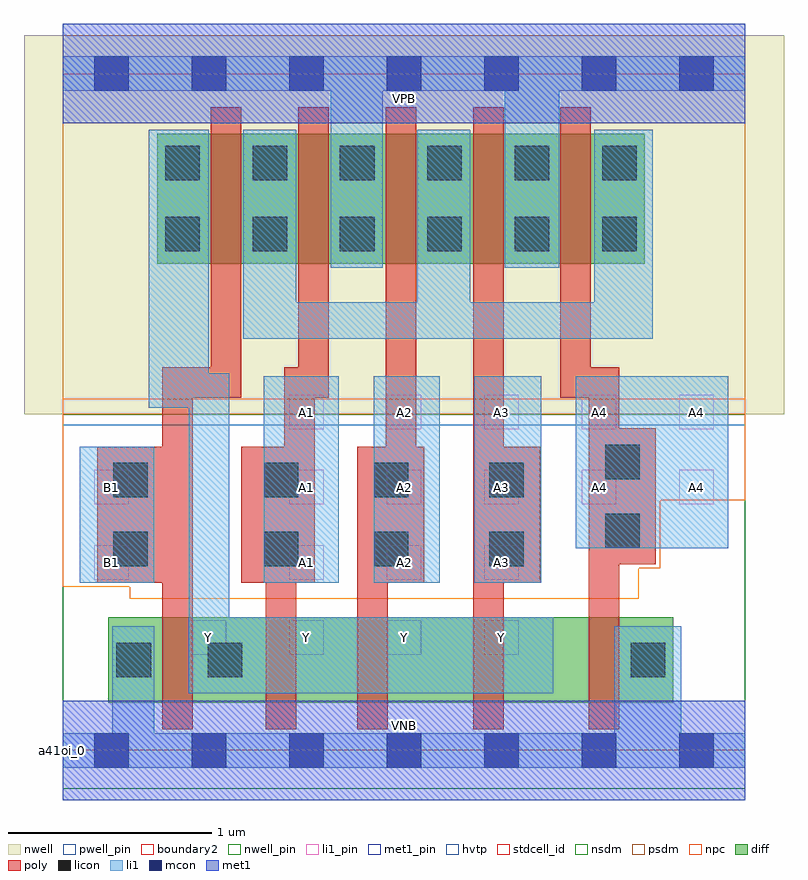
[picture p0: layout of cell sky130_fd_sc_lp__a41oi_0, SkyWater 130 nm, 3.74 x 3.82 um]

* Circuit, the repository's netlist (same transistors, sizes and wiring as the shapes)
* Copyright 2020 The SkyWater PDK Authors
*
* Licensed under the Apache License, Version 2.0 (the "License");
* you may not use this file except in compliance with the License.
* You may obtain a copy of the License at
*
*     https://www.apache.org/licenses/LICENSE-2.0
*
* Unless required by applicable law or agreed to in writing, software
* distributed under the License is distributed on an "AS IS" BASIS,
* WITHOUT WARRANTIES OR CONDITIONS OF ANY KIND, either express or implied.
* See the License for the specific language governing permissions and
* limitations under the License.
*
* SPDX-License-Identifier: Apache-2.0

.SUBCKT sky130_fd_sc_lp__a41oi_0 A1 A2 A3 A4 B1 VGND VNB VPB VPWR Y
*.PININFO A1:I A2:I A3:I A4:I B1:I VGND:I VNB:I VPB:I VPWR:I Y:O
MMPA0 pndA A1 VPWR VPB sky130_fd_pr__pfet_01v8_hvt m=1 w=0.64U l=0.15U mult=1 sa=0.265
+ sb=0.265 sd=0.28 area=0.063 perim=1.14
MMPA1 pndA A2 VPWR VPB sky130_fd_pr__pfet_01v8_hvt m=1 w=0.64U l=0.15U mult=1 sa=0.265
+ sb=0.265 sd=0.28 area=0.063 perim=1.14
MMPA2 pndA A3 VPWR VPB sky130_fd_pr__pfet_01v8_hvt m=1 w=0.64U l=0.15U mult=1 sa=0.265
+ sb=0.265 sd=0.28 area=0.063 perim=1.14
MMPA3 pndA A4 VPWR VPB sky130_fd_pr__pfet_01v8_hvt m=1 w=0.64U l=0.15U mult=1 sa=0.265
+ sb=0.265 sd=0.28 area=0.063 perim=1.14
MMPB0 Y B1 pndA VPB sky130_fd_pr__pfet_01v8_hvt m=1 w=0.64U l=0.15U mult=1 sa=0.265
+ sb=0.265 sd=0.28 area=0.063 perim=1.14
MMNA0 Y A1 sndA1 VNB sky130_fd_pr__nfet_01v8 m=1 w=0.42U l=0.15U mult=1 sa=0.265
+ sb=0.265 sd=0.28 area=0.063 perim=1.14
MMNA1 sndA1 A2 sndA2 VNB sky130_fd_pr__nfet_01v8 m=1 w=0.42U l=0.15U mult=1 sa=0.265
+ sb=0.265 sd=0.28 area=0.063 perim=1.14
MMNA2 sndA2 A3 sndA3 VNB sky130_fd_pr__nfet_01v8 m=1 w=0.42U l=0.15U mult=1 sa=0.265
+ sb=0.265 sd=0.28 area=0.063 perim=1.14
MMNA3 sndA3 A4 VGND VNB sky130_fd_pr__nfet_01v8 m=1 w=0.42U l=0.15U mult=1 sa=0.265
+ sb=0.265 sd=0.28 area=0.063 perim=1.14
MMNB0 Y B1 VGND VNB sky130_fd_pr__nfet_01v8 m=1 w=0.42U l=0.15U mult=1 sa=0.265
+ sb=0.265 sd=0.28 area=0.063 perim=1.14
.ENDS sky130_fd_sc_lp__a41oi_0

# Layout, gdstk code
import gdstk
lib = gdstk.Library(unit=1e-6, precision=1e-09)
def R(c, l, rs):  # rectangles x0, y0, x1, y1
    for r in rs: c.add(gdstk.rectangle(r[:2], r[2:], *l))
def A(c, l, x, y, w, h, nx, ny, dx, dy):  # array of equal rectangles
    R(c, l, [(x+i*dx, y+j*dy, x+i*dx+w, y+j*dy+h) for i in range(nx) for j in range(ny)])
def P(c, l, *ps):  # polygons
    for p in ps: c.add(gdstk.Polygon(p, *l))
nwell_pin = (64, 16)
nwell = (64, 20)
diff = (65, 20)
poly = (66, 20)
licon = (66, 44)
li1_pin = (67, 16)
li1 = (67, 20)
mcon = (67, 44)
met1_pin = (68, 16)
met1 = (68, 20)
hvtp = (78, 44)
stdcell_id = (81, 4)
nsdm = (93, 44)
psdm = (94, 20)
npc = (95, 20)
pwell_pin = (122, 16)
boundary2 = (236, 0)

sky130_fd_sc_lp__a41oi_0 = lib.new_cell('sky130_fd_sc_lp__a41oi_0')
R(sky130_fd_sc_lp__a41oi_0, nwell_pin, [(0,3.085,3.36,3.33)])
R(sky130_fd_sc_lp__a41oi_0, nwell, [(-0.19,1.655,3.55,3.52)])
R(sky130_fd_sc_lp__a41oi_0, diff, [(0.225,0.235,3.005,0.655), (0.465,2.395,2.865,3.035)])
P(sky130_fd_sc_lp__a41oi_0, poly, [(2.35,1.495),(2.17,1.495),(2.17,3.165),(2.02,3.165),(2.02,0.105),(2.17,0.105),(2.17,0.825),(2.35,0.825)],
  [(2.92,1.585),(2.74,1.585),(2.74,1.885),(2.6,1.885),(2.6,3.165),(2.45,3.165),(2.45,1.735),(2.59,1.735),(2.59,0.105),(2.74,0.105),(2.74,0.915),(2.92,0.915)],
  [(0.88,3.165),(0.73,3.165),(0.73,1.885),(0.49,1.885),(0.49,1.495),(0.17,1.495),(0.17,0.825),(0.49,0.825),(0.49,0.105),(0.64,0.105),(0.64,1.735),(0.88,1.735)],
  [(1.31,3.165),(1.16,3.165),(1.16,1.885),(1.09,1.885),(1.09,1.495),(0.88,1.495),(0.88,0.825),(1,0.825),(1,0.105),(1.15,0.105),(1.15,0.825),(1.24,0.825),(1.24,1.735),(1.31,1.735)],
  [(1.78,1.495),(1.74,1.495),(1.74,3.165),(1.59,3.165),(1.59,1.495),(1.45,1.495),(1.45,0.105),(1.6,0.105),(1.6,0.825),(1.78,0.825)])
A(sky130_fd_sc_lp__a41oi_0, licon, 0.505, 2.455, 0.17, 0.17, 6, 2, 0.43, 0.35)
R(sky130_fd_sc_lp__a41oi_0, licon, [(0.265,0.36,0.435,0.53), (0.715,0.36,0.885,0.53), (2.795,0.36,2.965,0.53), (0.25,0.905,0.42,1.075), (0.99,0.905,1.16,1.075), (1.53,0.905,1.7,1.075), (2.1,0.905,2.27,1.075), (2.67,0.995,2.84,1.165), (0.25,1.245,0.42,1.415), (0.99,1.245,1.16,1.415), (1.53,1.245,1.7,1.415), (2.1,1.245,2.27,1.415), (2.67,1.335,2.84,1.505)])
A(sky130_fd_sc_lp__a41oi_0, li1_pin, 0.635, 0.47, 0.17, 0.17, 4, 1, 0.48, 0)
A(sky130_fd_sc_lp__a41oi_0, li1_pin, 1.115, 0.84, 0.17, 0.17, 3, 1, 0.48, 0)
A(sky130_fd_sc_lp__a41oi_0, li1_pin, 1.115, 1.21, 0.17, 0.17, 5, 2, 0.48, 0.37)
R(sky130_fd_sc_lp__a41oi_0, li1_pin, [(0.155,0.84,0.325,1.01), (0.155,1.21,0.325,1.38)])
R(sky130_fd_sc_lp__a41oi_0, li1, [(0.085,0.825,0.45,1.495), (0.99,0.825,1.36,1.84), (1.53,0.825,1.855,1.84), (2.025,0.825,2.355,1.84), (2.525,0.995,3.275,1.84)])
P(sky130_fd_sc_lp__a41oi_0, li1, [(3.36,3.415),(0,3.415),(0,3.245),(1.32,3.245),(1.32,2.375),(1.575,2.375),(1.575,3.245),(2.175,3.245),(2.175,2.375),(2.445,2.375),(2.445,3.245),(3.36,3.245)],
  [(3.36,0.085),(3.045,0.085),(3.045,0.61),(2.715,0.61),(2.715,0.085),(0.45,0.085),(0.45,0.61),(0.245,0.61),(0.245,0.085),(0,0.085),(0,-0.085),(3.36,-0.085)],
  [(2.905,3.055),(2.615,3.055),(2.615,2.205),(2.005,2.205),(2.005,3.055),(1.745,3.055),(1.745,2.205),(1.15,2.205),(1.15,3.055),(0.89,3.055),(0.89,2.025),(2.905,2.025)],
  [(2.415,0.655),(0.82,0.655),(0.82,1.855),(0.72,1.855),(0.72,3.055),(0.425,3.055),(0.425,1.685),(0.62,1.685),(0.62,0.28),(2.415,0.28)])
A(sky130_fd_sc_lp__a41oi_0, mcon, 0.155, -0.085, 0.17, 0.17, 7, 2, 0.48, 3.33)
R(sky130_fd_sc_lp__a41oi_0, met1_pin, [(0,0,3.36,0.245), (0,3.085,3.36,3.33)])
R(sky130_fd_sc_lp__a41oi_0, met1, [(0,-0.245,3.36,0.245), (0,3.085,3.36,3.575)])
R(sky130_fd_sc_lp__a41oi_0, hvtp, [(0,1.6,3.36,3.33)])
R(sky130_fd_sc_lp__a41oi_0, stdcell_id, [(0,0,3.36,3.33)])
R(sky130_fd_sc_lp__a41oi_0, nsdm, [(0,-0.19,3.36,1.655)])
R(sky130_fd_sc_lp__a41oi_0, psdm, [(0,1.655,3.36,3.52)])
P(sky130_fd_sc_lp__a41oi_0, npc, [(3.36,1.73),(0,1.73),(0,0.805),(0.33,0.805),(0.33,0.745),(2.835,0.745),(2.835,0.895),(2.94,0.895),(2.94,1.23),(3.36,1.23)])
R(sky130_fd_sc_lp__a41oi_0, pwell_pin, [(0,0,3.36,0.245)])
R(sky130_fd_sc_lp__a41oi_0, boundary2, [(0,0,3.36,3.33)])
sky130_fd_sc_lp__a41oi_0.add(gdstk.Label('VNB', (1.68,0.123), layer=64, texttype=59))
sky130_fd_sc_lp__a41oi_0.add(gdstk.Label('VPB', (1.68,3.208), layer=64, texttype=5))
sky130_fd_sc_lp__a41oi_0.add(gdstk.Label('a41oi_0', (0,0), layer=83, texttype=44))
sky130_fd_sc_lp__a41oi_0.add(gdstk.Label('VPWR', (1.68,3.208), layer=68, texttype=5))
sky130_fd_sc_lp__a41oi_0.add(gdstk.Label('VGND', (1.68,0.123), layer=68, texttype=5))
sky130_fd_sc_lp__a41oi_0.add(gdstk.Label('Y', (0.72,0.555), layer=67, texttype=5))
sky130_fd_sc_lp__a41oi_0.add(gdstk.Label('Y', (1.2,0.555), layer=67, texttype=5))
sky130_fd_sc_lp__a41oi_0.add(gdstk.Label('Y', (1.68,0.555), layer=67, texttype=5))
sky130_fd_sc_lp__a41oi_0.add(gdstk.Label('Y', (2.16,0.555), layer=67, texttype=5))
sky130_fd_sc_lp__a41oi_0.add(gdstk.Label('A4', (3.12,1.295), layer=67, texttype=5))
sky130_fd_sc_lp__a41oi_0.add(gdstk.Label('A2', (1.68,0.925), layer=67, texttype=5))
sky130_fd_sc_lp__a41oi_0.add(gdstk.Label('A2', (1.68,1.295), layer=67, texttype=5))
sky130_fd_sc_lp__a41oi_0.add(gdstk.Label('A3', (2.16,0.925), layer=67, texttype=5))
sky130_fd_sc_lp__a41oi_0.add(gdstk.Label('A3', (2.16,1.295), layer=67, texttype=5))
sky130_fd_sc_lp__a41oi_0.add(gdstk.Label('A4', (2.64,1.295), layer=67, texttype=5))
sky130_fd_sc_lp__a41oi_0.add(gdstk.Label('B1', (0.24,0.925), layer=67, texttype=5))
sky130_fd_sc_lp__a41oi_0.add(gdstk.Label('B1', (0.24,1.295), layer=67, texttype=5))
sky130_fd_sc_lp__a41oi_0.add(gdstk.Label('A1', (1.2,0.925), layer=67, texttype=5))
sky130_fd_sc_lp__a41oi_0.add(gdstk.Label('A1', (1.2,1.295), layer=67, texttype=5))
sky130_fd_sc_lp__a41oi_0.add(gdstk.Label('A1', (1.2,1.665), layer=67, texttype=5))
sky130_fd_sc_lp__a41oi_0.add(gdstk.Label('A2', (1.68,1.665), layer=67, texttype=5))
sky130_fd_sc_lp__a41oi_0.add(gdstk.Label('A3', (2.16,1.665), layer=67, texttype=5))
sky130_fd_sc_lp__a41oi_0.add(gdstk.Label('A4', (2.64,1.665), layer=67, texttype=5))
sky130_fd_sc_lp__a41oi_0.add(gdstk.Label('A4', (3.12,1.665), layer=67, texttype=5))

lib.write_gds('sky130_fd_sc_lp__a41oi_0.gds')
